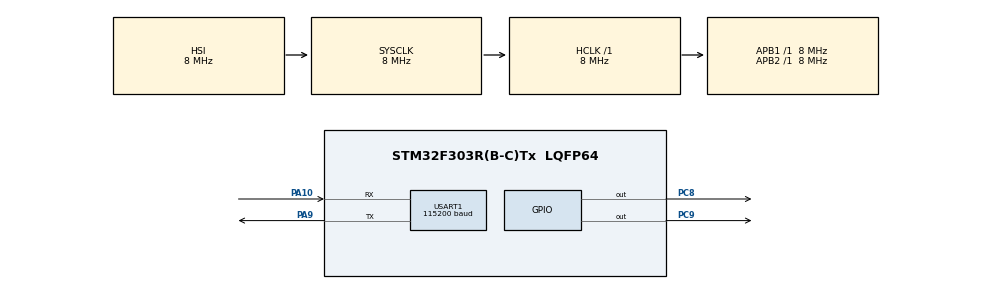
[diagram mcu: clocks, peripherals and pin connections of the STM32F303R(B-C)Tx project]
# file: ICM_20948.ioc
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Dma.Request0=USART1_RX
Dma.USART1_RX.0.Direction=DMA_PERIPH_TO_MEMORY
Dma.USART1_RX.0.Instance=DMA1_Channel5
Dma.USART1_RX.0.MemDataAlignment=DMA_MDATAALIGN_BYTE
Dma.USART1_RX.0.MemInc=DMA_MINC_ENABLE
Dma.USART1_RX.0.Mode=DMA_CIRCULAR
Dma.USART1_RX.0.PeriphDataAlignment=DMA_PDATAALIGN_BYTE
Dma.USART1_RX.0.PeriphInc=DMA_PINC_DISABLE
Dma.USART1_RX.0.Priority=DMA_PRIORITY_VERY_HIGH
Mcu.Family=STM32F3
Mcu.Name=STM32F303R(B-C)Tx
Mcu.Package=LQFP64
NVIC.DMA1_Channel5_IRQn=true\:0\:0\:false\:false\:true\:false\:true\:true
NVIC.PriorityGroup=NVIC_PRIORITYGROUP_4
PA10.Mode=Asynchronous
PA10.Signal=USART1_RX
PA9.Mode=Asynchronous
PA9.Signal=USART1_TX
PC8.GPIO_ModeDefaultOutputPP=GPIO_MODE_OUTPUT_PP
PC8.GPIO_PuPd=GPIO_PULLDOWN
PC8.GPIO_Speed=GPIO_SPEED_FREQ_LOW
PC8.PinState=GPIO_PIN_RESET
PC8.Signal=GPIO_Output
PC9.GPIO_ModeDefaultOutputPP=GPIO_MODE_OUTPUT_PP
PC9.GPIO_PuPd=GPIO_PULLDOWN
PC9.GPIO_Speed=GPIO_SPEED_FREQ_LOW
PC9.PinState=GPIO_PIN_RESET
PC9.Signal=GPIO_Output
ProjectManager.HeapSize=0x200
ProjectManager.StackSize=0x400
ProjectManager.TargetToolchain=MDK-ARM V5
RCC.AHBFreq_Value=8000000
RCC.APB1Freq_Value=8000000
RCC.APB2Freq_Value=8000000
RCC.CortexFreq_Value=8000000
RCC.HSE_VALUE=8000000
RCC.HSI_VALUE=8000000
RCC.LSE_VALUE=32768
RCC.SYSCLKFreq_VALUE=8000000
USART1.BaudRate=115200
USART1.VirtualMode-Asynchronous=VM_ASYNC
board=custom

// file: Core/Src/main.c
/* USER CODE BEGIN Header */
/**
  ******************************************************************************
  * @file           : main.c
  * @brief          : Main program body
  ******************************************************************************
  * @attention
  *
  * Copyright (c) 2025 STMicroelectronics.
  * All rights reserved.
  *
  * This software is licensed under terms that can be found in the LICENSE file
  * in the root directory of this software component.
  * If no LICENSE file comes with this software, it is provided AS-IS.
  *
  ******************************************************************************
  */
/* USER CODE END Header */
#include "main.h"

/* USER CODE BEGIN Includes */
#include "string.h"
#include "stdio.h"
#include "stdlib.h"
/* USER CODE END Includes */

UART_HandleTypeDef huart1;
DMA_HandleTypeDef hdma_usart1_rx;

/* USER CODE BEGIN PV */
//-----UART1-------//
uint8_t Data_Tx_UART1 = 0;
uint8_t Cout_Data_In_Buff_UART1 = 0;
uint8_t Flag_UART1 = 0;
uint8_t Buff_Dma_UART1[200]="";
//-----end-----//
/* USER CODE END PV */

void SystemClock_Config(void);
static void MX_GPIO_Init(void);
static void MX_DMA_Init(void);
static void MX_USART1_UART_Init(void);
/* USER CODE BEGIN PFP */
static void Blynk_Led(void);
void HAL_UART_RxCpltCallback(UART_HandleTypeDef *huart);
void Receive_And_Transmit_Data(void);
/* USER CODE END PFP */

/* USER CODE BEGIN 0 */
void Blynk_Led(void){
		HAL_GPIO_WritePin(GPIOC,GPIO_PIN_9,1);
		HAL_GPIO_WritePin(GPIOC,GPIO_PIN_8,1);
	  HAL_Delay(500);
		HAL_GPIO_WritePin(GPIOC,GPIO_PIN_9,0);
		HAL_GPIO_WritePin(GPIOC,GPIO_PIN_8,0);
		HAL_Delay(500);
}
void HAL_UART_RxCpltCallback(UART_HandleTypeDef *huart)
{
	if(huart->Instance == USART1){
		if(Data_Tx_UART1 == '\0'){
				Flag_UART1 = 1;
			  Cout_Data_In_Buff_UART1 = 0;
		}
		else{
		  Flag_UART1 = 0;
			Buff_Dma_UART1[Cout_Data_In_Buff_UART1++]=Data_Tx_UART1;
		}
	}
}
void Receive_And_Transmit_Data(void){
		if(Flag_UART1==1){
			HAL_UART_Transmit(&huart1,Buff_Dma_UART1,sizeof(Buff_Dma_UART1),100);
			memset(Buff_Dma_UART1,0,sizeof(Buff_Dma_UART1));
			Flag_UART1 = 0;
		}
}
/* USER CODE END 0 */

int main(void)
{

  /* MCU Configuration--------------------------------------------------------*/

  /* Reset of all peripherals, Initializes the Flash interface and the Systick. */
  HAL_Init();

  /* Configure the system clock */
  SystemClock_Config();

  /* Initialize all configured peripherals */
  MX_GPIO_Init();
  MX_DMA_Init();
  MX_USART1_UART_Init();
  /* USER CODE BEGIN 2 */
 	HAL_UART_Receive_DMA(&huart1,&Data_Tx_UART1,1);
  /* USER CODE END 2 */

  /* Infinite loop */
  while (1)
  {
    /* USER CODE BEGIN 3 */
		Blynk_Led();
		Receive_And_Transmit_Data();

//		uint8_t Data_Rx[10]="";
  }
  /* USER CODE END 3 */
}

void SystemClock_Config(void)
{
  RCC_OscInitTypeDef RCC_OscInitStruct = {0};
  RCC_ClkInitTypeDef RCC_ClkInitStruct = {0};
  RCC_PeriphCLKInitTypeDef PeriphClkInit = {0};

  /** Initializes the RCC Oscillators according to the specified parameters
  * in the RCC_OscInitTypeDef structure.
  */
  RCC_OscInitStruct.OscillatorType = RCC_OSCILLATORTYPE_HSI;
  RCC_OscInitStruct.HSIState = RCC_HSI_ON;
  RCC_OscInitStruct.HSICalibrationValue = RCC_HSICALIBRATION_DEFAULT;
  RCC_OscInitStruct.PLL.PLLState = RCC_PLL_NONE;
  if (HAL_RCC_OscConfig(&RCC_OscInitStruct) != HAL_OK)
  {
    Error_Handler();
  }

  /** Initializes the CPU, AHB and APB buses clocks
  */
  RCC_ClkInitStruct.ClockType = RCC_CLOCKTYPE_HCLK|RCC_CLOCKTYPE_SYSCLK
                              |RCC_CLOCKTYPE_PCLK1|RCC_CLOCKTYPE_PCLK2;
  RCC_ClkInitStruct.SYSCLKSource = RCC_SYSCLKSOURCE_HSI;
  RCC_ClkInitStruct.AHBCLKDivider = RCC_SYSCLK_DIV1;
  RCC_ClkInitStruct.APB1CLKDivider = RCC_HCLK_DIV1;
  RCC_ClkInitStruct.APB2CLKDivider = RCC_HCLK_DIV1;

  if (HAL_RCC_ClockConfig(&RCC_ClkInitStruct, FLASH_LATENCY_0) != HAL_OK)
  {
    Error_Handler();
  }
  PeriphClkInit.PeriphClockSelection = RCC_PERIPHCLK_USART1;
  PeriphClkInit.Usart1ClockSelection = RCC_USART1CLKSOURCE_PCLK2;
  if (HAL_RCCEx_PeriphCLKConfig(&PeriphClkInit) != HAL_OK)
  {
    Error_Handler();
  }
}

static void MX_USART1_UART_Init(void)
{

  huart1.Instance = USART1;
  huart1.Init.BaudRate = 115200;
  huart1.Init.WordLength = UART_WORDLENGTH_8B;
  huart1.Init.StopBits = UART_STOPBITS_1;
  huart1.Init.Parity = UART_PARITY_NONE;
  huart1.Init.Mode = UART_MODE_TX_RX;
  huart1.Init.HwFlowCtl = UART_HWCONTROL_NONE;
  huart1.Init.OverSampling = UART_OVERSAMPLING_16;
  huart1.Init.OneBitSampling = UART_ONE_BIT_SAMPLE_DISABLE;
  huart1.AdvancedInit.AdvFeatureInit = UART_ADVFEATURE_NO_INIT;
  if (HAL_UART_Init(&huart1) != HAL_OK)
  {
    Error_Handler();
  }

}

static void MX_DMA_Init(void)
{

  /* DMA controller clock enable */
  __HAL_RCC_DMA1_CLK_ENABLE();

  /* DMA interrupt init */
  /* DMA1_Channel5_IRQn interrupt configuration */
  HAL_NVIC_SetPriority(DMA1_Channel5_IRQn, 0, 0);
  HAL_NVIC_EnableIRQ(DMA1_Channel5_IRQn);

}

static void MX_GPIO_Init(void)
{
  GPIO_InitTypeDef GPIO_InitStruct = {0};

  /* GPIO Ports Clock Enable */
  __HAL_RCC_GPIOC_CLK_ENABLE();
  __HAL_RCC_GPIOA_CLK_ENABLE();

  /*Configure GPIO pin Output Level */
  HAL_GPIO_WritePin(GPIOC, GPIO_PIN_8|GPIO_PIN_9, GPIO_PIN_RESET);

  /*Configure GPIO pins : PC8 PC9 */
  GPIO_InitStruct.Pin = GPIO_PIN_8|GPIO_PIN_9;
  GPIO_InitStruct.Mode = GPIO_MODE_OUTPUT_PP;
  GPIO_InitStruct.Pull = GPIO_PULLDOWN;
  GPIO_InitStruct.Speed = GPIO_SPEED_FREQ_LOW;
  HAL_GPIO_Init(GPIOC, &GPIO_InitStruct);

}

void Error_Handler(void)
{
  __disable_irq();
  while (1)
  {
  }
}
